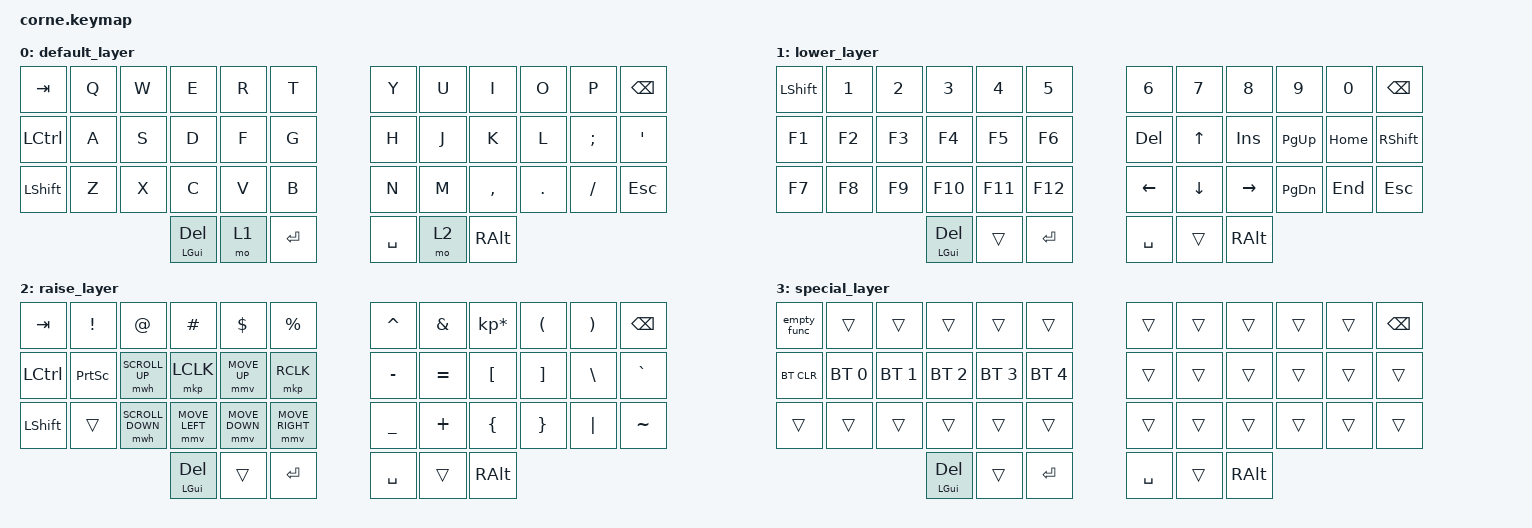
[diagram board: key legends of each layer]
/*
 * Copyright (c) 2020 The ZMK Contributors
 *
 * SPDX-License-Identifier: MIT
 */

#include <behaviors.dtsi>
#include <dt-bindings/zmk/bt.h>
#include <dt-bindings/zmk/keys.h>
#include <dt-bindings/zmk/mouse.h>

/ {
    combos {
        compatible = "zmk,combos";

        activate_special_layer {
            bindings = <&mo 3>;
            key-positions = <40 37>;
        };
    };

    macros {
        empty_func: empty_func {
            compatible = "zmk,behavior-macro";
            label = "EMPTY_FUNC";
            #binding-cells = <0>;
            bindings = <&kp F &kp LPAR &kp RPAR &kp SPACE &kp LEFT_BRACE &kp RBRC>;
        };
    };

    behaviors {
        ht_hp: ht_hp {
            compatible = "zmk,behavior-hold-tap";
            label = "ht_hp";
            bindings =
                <&kp>,
                <&kp>;

            #binding-cells = <2>;
            tapping-term-ms = <300>;
        };
    };

    keymap {
        compatible = "zmk,keymap";

        default_layer {
            // -----------------------------------------------------------------------------------------
            // |  TAB |  Q  |  W  |  E  |  R  |  T  |   |  Y  |  U   |  I  |  O  |  P  | BKSP |
            // | CTRL |  A  |  S  |  D  |  F  |  G  |   |  H  |  J   |  K  |  L  |  ;  |  '   |
            // | SHFT |  Z  |  X  |  C  |  V  |  B  |   |  N  |  M   |  ,  |  .  |  /  | ESC  |
            //                    | GUI | LWR | ENT |   | SPC | RSE  | ALT |

            bindings = <
  &kp TAB  &kp Q  &kp W     &kp E  &kp R    &kp T        &kp Y  &kp U      &kp I    &kp O     &kp P  &kp BSPC
&kp LCTRL  &kp A  &kp S     &kp D  &kp F    &kp G        &kp H  &kp J      &kp K    &kp L  &kp SEMI   &kp SQT
&kp LSHFT  &kp Z  &kp X     &kp C  &kp V    &kp B        &kp N  &kp M  &kp COMMA  &kp DOT  &kp FSLH   &kp ESC
                  &ht_hp LGUI DEL  &mo 1  &kp RET    &kp SPACE  &mo 2   &kp RALT
            >;
        };

        lower_layer {
            // -----------------------------------------------------------------------------------------
            // | SHFT |  1  |  2  |  3  |  4  |  5  |   |  6  |  7  |  8  |  9   |  0   | BKSP |
            // |  F1  |  F2 |  F3 |  F4 |  F5 |  F6 |   | DEL | UP  | INS | P_UP | HOME | SHFT |
            // |  F7  |  F8 |  F9 | F10 | F11 | F12 |   | LFT | DWN | RGT | P_DN | END  | ESC  |
            //                    | GUI |     | ENT |   | SPC |     | ALT |

            bindings = <
&kp LSHFT  &kp N1  &kp N2    &kp N3   &kp N4   &kp N5      &kp N6    &kp N7     &kp N8         &kp N9    &kp N0         &kp BSPC
   &kp F1  &kp F2  &kp F3    &kp F4   &kp F5   &kp F6      &kp DEL    &kp UP    &kp INS      &kp PG_UP  &kp HOME  &kp RIGHT_SHIFT
   &kp F7  &kp F8  &kp F9   &kp F10   &kp F11  &kp F12     &kp LEFT  &kp DOWN  &kp RIGHT  &kp PAGE_DOWN   &kp END          &kp ESC
                    &ht_hp LGUI DEL   &trans   &kp RET     &kp SPACE    &trans   &kp RALT
            >;
        };

        raise_layer {
            // -----------------------------------------------------------------------------------------
            // |  TAB |  !  |  @  |  #  |  $  |  %  |   |  ^  |  &  |  *  |  (  |  )  | BKSP |
            // | CTRL | PSC |     |     |     |     |   |  -  |  =  |  [  |  ]  |  \  |  `   |
            // | SHFT |     |     |     |     |     |   |  _  |  +  |  {  |  }  | "|" |  ~   |
            //                    | GUI |     | ENT |   | SPC |     | ALT |

            bindings = <
  &kp TAB         &kp EXCL  &kp AT  &kp HASH  &kp DLLR  &kp PRCNT    &kp CARET   &kp AMPS  &kp KP_MULTIPLY  &kp LPAR  &kp RPAR   &kp BSPC
&kp LCTRL  &kp PRINTSCREEN  &mwh SCROLL_UP     &mkp LCLK    &mmv MOVE_UP     &mkp RCLK   &kp MINUS  &kp EQUAL         &kp LBKT  &kp RBKT  &kp BSLH  &kp GRAVE
&kp LSHFT           &trans  &mwh SCROLL_DOWN  &mmv MOVE_LEFT &mmv MOVE_DOWN &mmv MOVE_RIGHT    &kp UNDER   &kp PLUS         &kp LBRC  &kp RBRC  &kp PIPE  &kp TILDE
                            &ht_hp LGUI DEL     &trans    &kp RET    &kp SPACE     &trans         &kp RALT
            >;
        };

        special_layer {
            // -----------------------------------------------------------------------------------------
            // | F() |     |     |     |     |     |   |     |     |     |     |     | BKSP |
            // |BTCLR| BT1 | BT2 | BT3 | BT4 | BT5 |   |     |     |     |     |     |      |
            // |     |     |     |     |     |     |   |     |     |     |     |     |      |
            //                   | GUI |     | ENT |   | SPC |     | ALT |

            bindings = <
&empty_func        &trans        &trans        &trans        &trans        &trans       &trans  &trans    &trans  &trans  &trans  &kp BSPC
 &bt BT_CLR  &bt BT_SEL 0  &bt BT_SEL 1  &bt BT_SEL 2  &bt BT_SEL 3  &bt BT_SEL 4       &trans  &trans    &trans  &trans  &trans    &trans
     &trans        &trans        &trans        &trans        &trans        &trans       &trans  &trans    &trans  &trans  &trans    &trans
                                      &ht_hp LGUI DEL        &trans     &kp ENTER    &kp SPACE  &trans  &kp RALT
            >;
        };
    };
};
